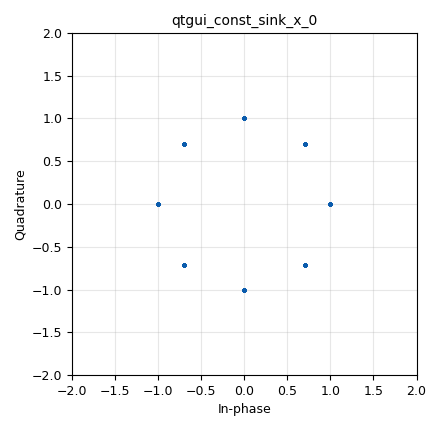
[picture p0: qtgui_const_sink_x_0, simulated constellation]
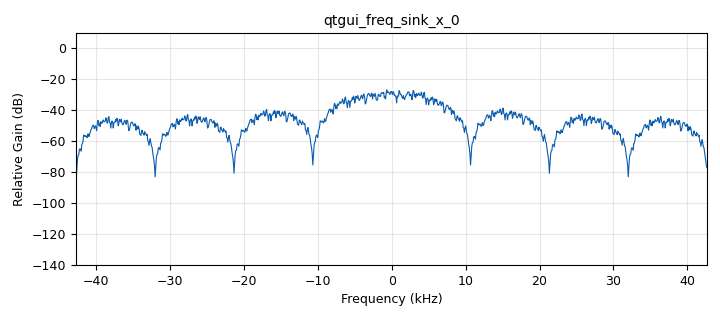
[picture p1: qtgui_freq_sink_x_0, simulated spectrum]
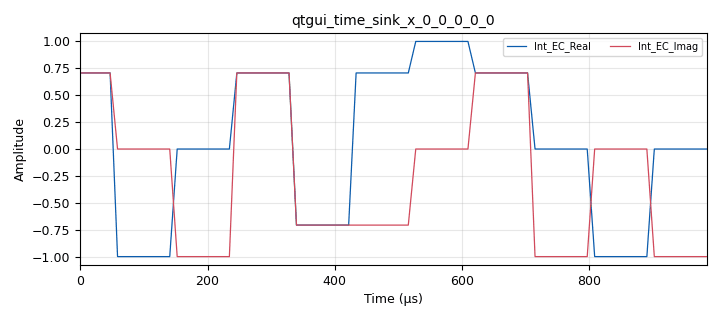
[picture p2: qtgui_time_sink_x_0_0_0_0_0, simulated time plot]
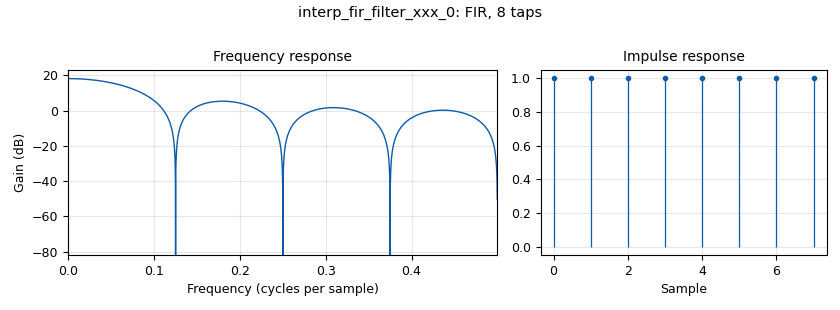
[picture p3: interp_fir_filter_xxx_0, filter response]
options:
  parameters:
    generate_options: qt_gui
    id: MPSK
    output_language: python
    title: 8PSK
  states: {}

blocks:
- name: M
  id: variable
  parameters:
    value: '8'
  states: {}
- name: Nbps
  id: variable
  parameters:
    value: int(math.log(M,2))
  states: {}
- name: Rb
  id: variable
  parameters:
    value: '32000'
  states: {}
- name: Rs
  id: variable
  parameters:
    value: Rb/Nbps
  states: {}
- name: Sps
  id: variable
  parameters:
    value: len(h)
  states: {}
- name: h
  id: variable
  parameters:
    value: '[1.,1.,1.,1.,1.,1.,1.,1.]'
  states: {}
- name: samp_rate
  id: variable
  parameters:
    value: Rs*Sps
  states: {}
- name: analog_const_source_x_0
  id: analog_const_source_x
  parameters:
    const: '1'
    type: float
  states: {}
- name: analog_random_source_x_0
  id: analog_random_source_x
  parameters:
    max: '2'
    min: '0'
    num_samps: '1000'
    repeat: 'True'
    type: byte
  states: {}
- name: blocks_char_to_float_0
  id: blocks_char_to_float
  parameters:
    scale: '1'
  states: {state: disabled}
- name: blocks_char_to_float_0_0
  id: blocks_char_to_float
  parameters:
    scale: '1'
  states: {state: disabled}
- name: blocks_char_to_float_0_0_0
  id: blocks_char_to_float
  parameters:
    scale: '1'
  states: {}
- name: blocks_multiply_const_vxx_0
  id: blocks_multiply_const_vxx
  parameters:
    const: 2*math.pi/M
    type: float
  states: {}
- name: blocks_repack_bits_bb_0
  id: blocks_repack_bits_bb
  parameters:
    endianness: gr.GR_LSB_FIRST
    k: '1'
    l: Nbps
  states: {}
- name: epy_block_0
  id: epy_block
  parameters:
    _source_code: |-
      """
      Embedded Python Blocks:

      Each time this file is saved, GRC will instantiate the first class it finds
      to get ports and parameters of your block. The arguments to __init__  will
      be the parameters. All of them are required to have default values!
      """

      import numpy as np
      from gnuradio import gr


      class blk(gr.sync_block):  # other base classes are basic_block, decim_block, interp_block
          """Embedded Python Block example - a simple multiply const"""

          def __init__(self, example_param=1.0):  # only default arguments here
              """Dos entradas, una salida"""
              gr.sync_block.__init__(
                  self,
                  name='VCO Complex',   # will show up in GRC
                  in_sig=[np.float32, np.float32],
                  out_sig=[np.complex64]
              )
              # if an attribute with the same name as a parameter is found,
              # a callback is registered (properties work, too).
              self.example_param = example_param

          def work(self, input_items, output_items):
              """Q manipula fase en radianes, A manipula amplitud"""
              Q = input_items[0]
              A = input_items[1]
              Sec = output_items[0]
              Sec[:] = A*np.exp(1.j*Q)

              return len(Sec)
    example_param: '1.0'
  states: {}
- name: import_0
  id: import
  parameters:
    imports: import math
  states: {}
- name: interp_fir_filter_xxx_0
  id: interp_fir_filter_xxx
  parameters:
    interp: Sps
    taps: h
    type: ccc
  states: {}
- name: qtgui_const_sink_x_0
  id: qtgui_const_sink_x
  parameters:
    size: '1024'
    type: complex
    width1: '3'
  states: {}
- name: qtgui_freq_sink_x_0
  id: qtgui_freq_sink_x
  parameters:
    average: '0.05'
    bw: samp_rate
    fc: '0'
    fftsize: '1024'
    type: complex
    width1: '3'
  states: {}
- name: qtgui_time_sink_x_0
  id: qtgui_time_sink_x
  parameters:
    marker1: '0'
    size: '32'
    srate: Rb
    stemplot: 'True'
    type: float
    width1: '3'
  states: {state: disabled}
- name: qtgui_time_sink_x_0_0
  id: qtgui_time_sink_x
  parameters:
    label1: PSK
    marker1: '0'
    size: int(32/Nbps)
    srate: Rs
    stemplot: 'True'
    type: float
    width1: '3'
  states: {state: disabled}
- name: qtgui_time_sink_x_0_0_0
  id: qtgui_time_sink_x
  parameters:
    label1: Mod
    marker1: '0'
    size: int(32/Nbps)
    srate: Rs
    stemplot: 'True'
    type: float
    width1: '3'
  states: {state: disabled}
- name: qtgui_time_sink_x_0_0_0_0
  id: qtgui_time_sink_x
  parameters:
    label1: EC_Real
    label2: EC_Imag
    marker1: '0'
    marker2: '0'
    size: int(32/Nbps)
    srate: Rs
    stemplot: 'True'
    type: complex
    width1: '3'
    width2: '3'
  states: {state: disabled}
- name: qtgui_time_sink_x_0_0_0_0_0
  id: qtgui_time_sink_x
  parameters:
    label1: Int_EC_Real
    label2: Int_EC_Imag
    size: int(32*Sps/Nbps)
    srate: samp_rate
    type: complex
    width1: '3'
    width2: '3'
  states: {}

connections:
- [analog_const_source_x_0, '0', epy_block_0, '1']
- [analog_random_source_x_0, '0', blocks_char_to_float_0, '0']
- [analog_random_source_x_0, '0', blocks_repack_bits_bb_0, '0']
- [blocks_char_to_float_0, '0', qtgui_time_sink_x_0, '0']
- [blocks_char_to_float_0_0, '0', qtgui_time_sink_x_0_0, '0']
- [blocks_char_to_float_0_0_0, '0', blocks_multiply_const_vxx_0, '0']
- [blocks_multiply_const_vxx_0, '0', epy_block_0, '0']
- [blocks_multiply_const_vxx_0, '0', qtgui_time_sink_x_0_0_0, '0']
- [blocks_repack_bits_bb_0, '0', blocks_char_to_float_0_0, '0']
- [blocks_repack_bits_bb_0, '0', blocks_char_to_float_0_0_0, '0']
- [epy_block_0, '0', interp_fir_filter_xxx_0, '0']
- [epy_block_0, '0', qtgui_const_sink_x_0, '0']
- [epy_block_0, '0', qtgui_time_sink_x_0_0_0_0, '0']
- [interp_fir_filter_xxx_0, '0', qtgui_freq_sink_x_0, '0']
- [interp_fir_filter_xxx_0, '0', qtgui_time_sink_x_0_0_0_0_0, '0']

metadata:
  file_format: 1
  grc_version: v3.10.11.0-89-ga17f69e7
